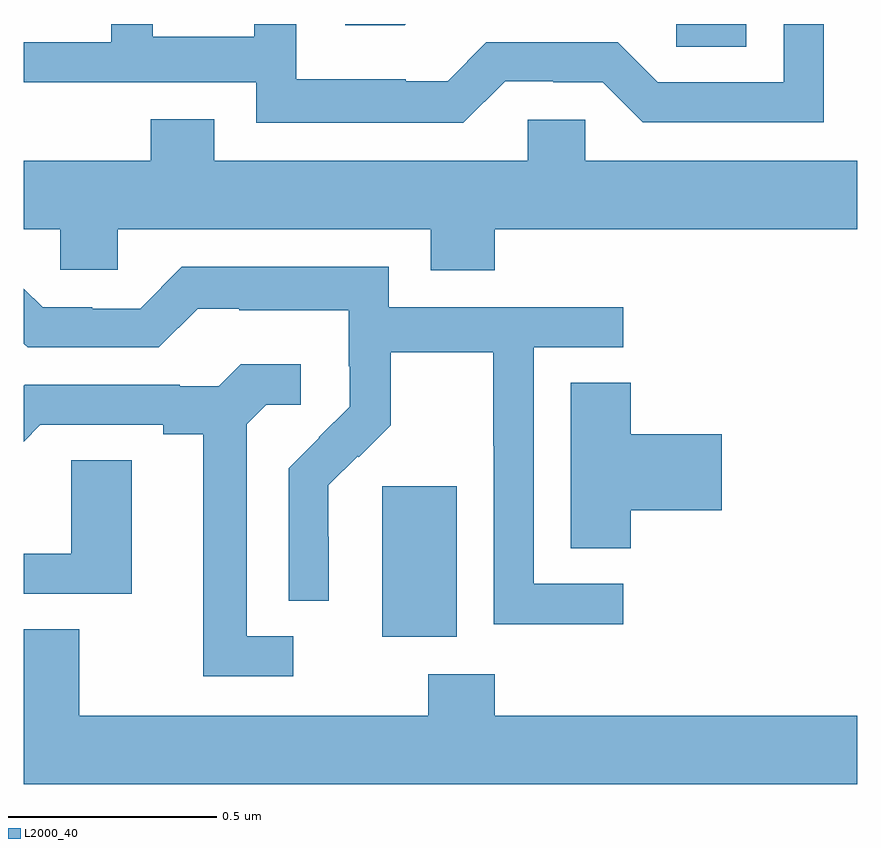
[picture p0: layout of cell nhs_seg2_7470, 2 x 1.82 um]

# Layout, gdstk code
import gdstk
lib = gdstk.Library(unit=1e-6, precision=1e-09)
def R(c, l, rs):  # rectangles x0, y0, x1, y1
    for r in rs: c.add(gdstk.rectangle(r[:2], r[2:], *l))
def P(c, l, *ps):  # polygons
    for p in ps: c.add(gdstk.Polygon(p, *l))
L2000_40 = (2000, 40)

nhs_seg2_7470 = lib.new_cell('nhs_seg2_7470')
R(nhs_seg2_7470, L2000_40, [(204.86,641.33,205.039,641.691), (205.566,642.745,205.734,642.8)])
P(nhs_seg2_7470, L2000_40, [(205.155,642.663),(205.271,642.663),(205.271,642.66),(205.389,642.66),(205.485,642.564),(205.92,642.564),(205.92,642.8),(205.824,642.8),(205.824,642.66),(205.521,642.66),(205.425,642.756),(205.11,642.756),(205.017,642.663),(204.917,642.663),(204.917,642.667),(204.654,642.667),(204.654,642.8),(204.553,642.8),(204.553,642.769),(204.309,642.769),(204.309,642.8),(204.21,642.8),(204.21,642.756),(204,642.756),(204,642.66),(204.558,642.66),(204.558,642.563),(205.055,642.563)],
  [(204.917,642.8),(204.771,642.8),(204.771,642.797),(204.914,642.797)],
  [(204.457,642.571),(204.305,642.571),(204.305,642.472),(204,642.472),(204,642.308),(204.087,642.308),(204.087,642.21),(204.225,642.21),(204.225,642.308),(204.977,642.308),(204.977,642.209),(205.13,642.209),(205.13,642.308),(206,642.308),(206,642.472),(205.347,642.472),(205.347,642.57),(205.209,642.57),(205.209,642.472),(204.457,642.472)],
  [(205.438,641.457),(205.224,641.457),(205.224,642.024),(205.438,642.024),(205.438,642.12),(204.876,642.12),(204.876,642.217),(204.379,642.217),(204.279,642.117),(204.164,642.117),(204.164,642.12),(204.045,642.12),(204,642.165),(204,642.033),(204.009,642.024),(204.324,642.024),(204.417,642.117),(204.517,642.117),(204.517,642.113),(204.78,642.113),(204.78,641.979),(204.782,641.979),(204.782,641.882),(204.708,641.808),(204.709,641.807),(204.636,641.734),(204.636,641.416),(204.732,641.416),(204.732,641.57),(204.731,641.57),(204.731,641.693),(204.801,641.763),(204.804,641.76),(204.881,641.837),(204.881,642.012),(205.126,642.012),(205.126,641.788),(205.128,641.788),(205.128,641.359),(205.438,641.359)],
  [(204.646,641.331),(204.535,641.331),(204.535,641.839),(204.582,641.886),(204.664,641.886),(204.664,641.983),(204.52,641.983),(204.468,641.931),(204.374,641.931),(204.374,641.934),(204.002,641.934),(204,641.932),(204,641.798),(204.04,641.838),(204.335,641.838),(204.335,641.816),(204.431,641.816),(204.431,641.235),(204.646,641.235)],
  [(205.457,641.633),(205.675,641.633),(205.675,641.816),(205.457,641.816),(205.457,641.939),(205.313,641.939),(205.313,641.542),(205.457,641.542)],
  [(204.259,641.753),(204.114,641.753),(204.114,641.529),(204,641.529),(204,641.433),(204.259,641.433)],
  [(206,641.14),(205.13,641.14),(205.13,641.239),(204.97,641.239),(204.97,641.14),(204.133,641.14),(204.133,641.348),(204,641.348),(204,640.976),(206,640.976)])

lib.write_gds('nhs_seg2_7470.gds')
